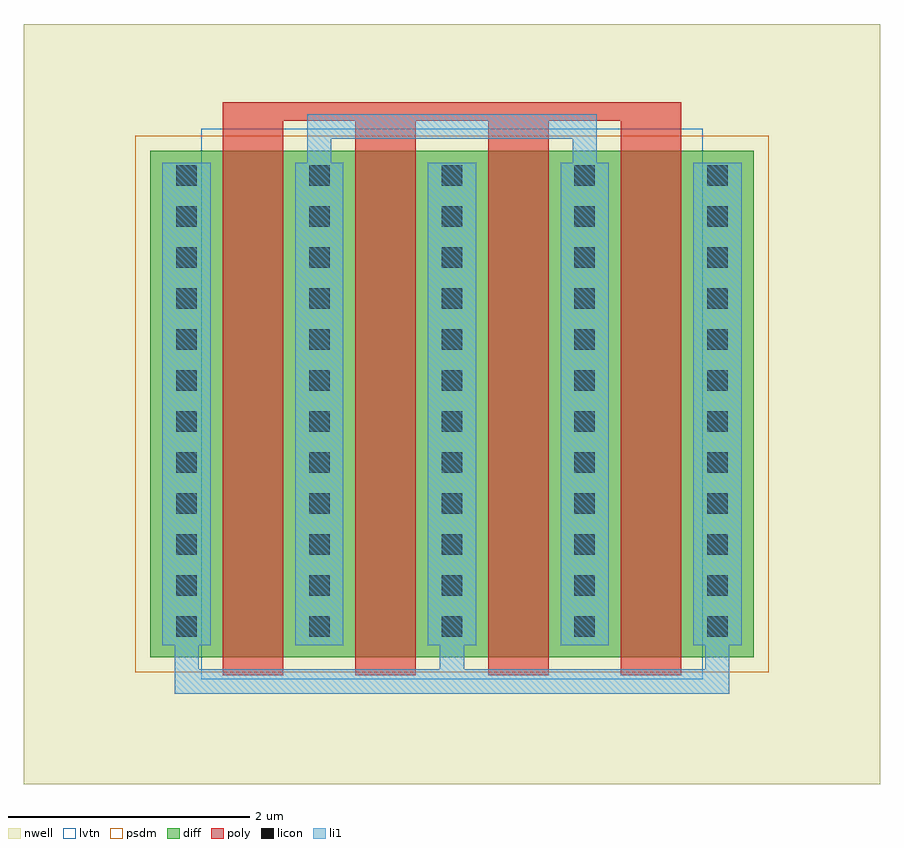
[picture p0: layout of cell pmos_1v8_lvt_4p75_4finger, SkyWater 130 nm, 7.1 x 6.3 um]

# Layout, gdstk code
import gdstk
lib = gdstk.Library(unit=1e-6, precision=1e-09)
def R(c, l, rs):  # rectangles x0, y0, x1, y1
    for r in rs: c.add(gdstk.rectangle(r[:2], r[2:], *l))
def A(c, l, x, y, w, h, nx, ny, dx, dy):  # array of equal rectangles
    R(c, l, [(x+i*dx, y+j*dy, x+i*dx+w, y+j*dy+h) for i in range(nx) for j in range(ny)])
nwell = (64, 20)
diff = (65, 20)
poly = (66, 20)
licon = (66, 44)
li1 = (67, 20)
psdm = (94, 20)
lvtn = (125, 44)

pmos_1v8_lvt_4p75_4finge = lib.new_cell('pmos_1v8_lvt_4p75_4finger')
R(pmos_1v8_lvt_4p75_4finge, nwell, [(-1.2,0.85,5.9,7.15)])
R(pmos_1v8_lvt_4p75_4finge, diff, [(-0.15,1.9,4.85,6.1)])
A(pmos_1v8_lvt_4p75_4finge, poly, 0.45, 1.75, 0.5, 4.6, 4, 1, 1.1, 0)
R(pmos_1v8_lvt_4p75_4finge, poly, [(0.45,6.35,4.25,6.5)])
A(pmos_1v8_lvt_4p75_4finge, licon, 0.065, 2.07, 0.17, 0.17, 5, 12, 1.1, 0.34)
A(pmos_1v8_lvt_4p75_4finge, li1, 0.05, 1.8, 0.2, 0.2, 3, 1, 2.2, 0)
A(pmos_1v8_lvt_4p75_4finge, li1, -0.05, 2, 0.4, 4, 5, 1, 1.1, 0)
R(pmos_1v8_lvt_4p75_4finge, li1, [(0.05,1.6,4.65,1.8), (1.15,6,1.35,6.2), (3.35,6,3.55,6.2), (1.15,6.2,3.55,6.4)])
R(pmos_1v8_lvt_4p75_4finge, psdm, [(-0.275,1.775,4.975,6.225)])
R(pmos_1v8_lvt_4p75_4finge, lvtn, [(0.27,1.72,4.43,6.28)])

lib.write_gds('pmos_1v8_lvt_4p75_4finger.gds')
